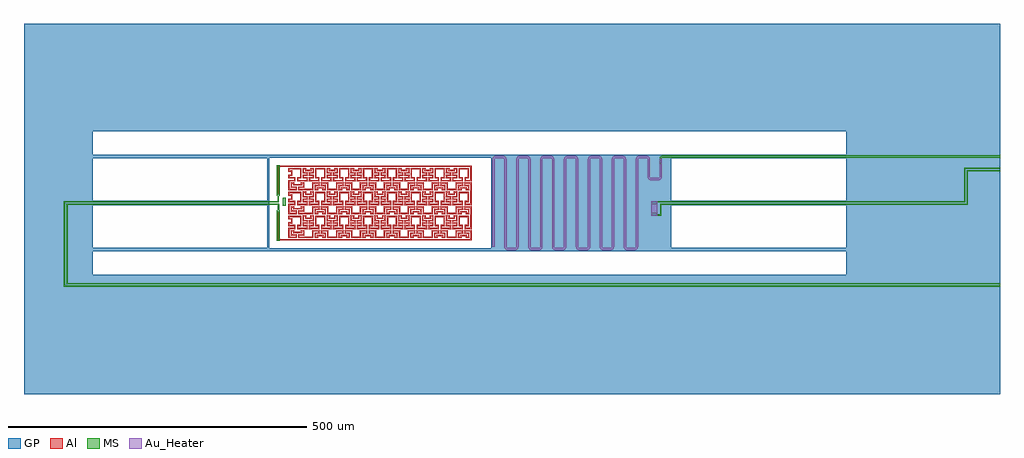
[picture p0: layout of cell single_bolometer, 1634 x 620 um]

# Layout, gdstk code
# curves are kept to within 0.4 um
import gdstk
lib = gdstk.Library(unit=1e-6, precision=1e-09)
def R(c, l, rs):  # rectangles x0, y0, x1, y1
    for r in rs: c.add(gdstk.rectangle(r[:2], r[2:], *l))
def P(c, l, *ps):  # polygons
    for p in ps: c.add(gdstk.Polygon(p, *l))
GP = (3, 0)
Al = (8, 0)
Au_Heater = (9, 0)
MS = (11, 0)

single_bolometer = lib.new_cell('single_bolometer')
R(single_bolometer, GP, [(-817,-310,560,-110), (560,-310,817,310), (-817,-110,-702,130), (-817,130,560,310)])
P(single_bolometer, GP, [(-702,-71),(-406.5,-71),(-406.5,86),(-35,86),(-35,-66),(-406.5,-66),(-406.5,-71),(560,-71),(560,-65),(267,-65),(267,6),(560,6),(560,14),(267,14),(267,85),(560,85),(560,91),(-702,91),(-702,85),(-409.5,85),(-409.5,14),(-702,14),(-702,6),(-409.5,6),(-409.5,-65),(-702,-65)])
R(single_bolometer, Al, [(-222,70.5,-146.5,72.5)])
P(single_bolometer, Al, [(-222,-52.5),(-392.5,-52.5),(-392.5,-4.5),(-389.5,-4.5),(-389.5,-50.5),(-222,-50.5)],
  [(-222,70.5),(-389.5,70.5),(-389.5,24.5),(-392.5,24.5),(-392.5,72.5),(-222,72.5)],
  [(-222,-50.5),(-69.5,-50.5),(-69.5,-37.5),(-78,-37.5),(-78,-39.5),(-71.5,-39.5),(-71.5,-48.5),(-77.5,-48.5),(-77.5,-45.5),(-84.5,-45.5),(-84.5,-48.5),(-90.5,-48.5),(-90.5,-39.5),(-84,-39.5),(-84,-37.5),(-92.5,-37.5),(-92.5,-48.5),(-109.5,-48.5),(-109.5,-37.5),(-118,-37.5),(-118,-39.5),(-111.5,-39.5),(-111.5,-48.5),(-117.5,-48.5),(-117.5,-45.5),(-124.5,-45.5),(-124.5,-48.5),(-130.5,-48.5),(-130.5,-39.5),(-124,-39.5),(-124,-37.5),(-132.5,-37.5),(-132.5,-48.5),(-149.5,-48.5),(-149.5,-37.5),(-158,-37.5),(-158,-39.5),(-151.5,-39.5),(-151.5,-48.5),(-157.5,-48.5),(-157.5,-45.5),(-164.5,-45.5),(-164.5,-48.5),(-170.5,-48.5),(-170.5,-39.5),(-164,-39.5),(-164,-37.5),(-172.5,-37.5),(-172.5,-48.5),(-189.5,-48.5),(-189.5,-37.5),(-198,-37.5),(-198,-39.5),(-191.5,-39.5),(-191.5,-48.5),(-197.5,-48.5),(-197.5,-45.5),(-204.5,-45.5),(-204.5,-48.5),(-210.5,-48.5),(-210.5,-39.5),(-204,-39.5),(-204,-37.5),(-212.5,-37.5),(-212.5,-48.5),(-222,-48.5),(-222,-46.5),(-214.5,-46.5),(-214.5,-35.5),(-202,-35.5),(-202,-41.5),(-208.5,-41.5),(-208.5,-46.5),(-206.5,-46.5),(-206.5,-43.5),(-195.5,-43.5),(-195.5,-46.5),(-193.5,-46.5),(-193.5,-41.5),(-200,-41.5),(-200,-35.5),(-187.5,-35.5),(-187.5,-46.5),(-174.5,-46.5),(-174.5,-35.5),(-162,-35.5),(-162,-41.5),(-168.5,-41.5),(-168.5,-46.5),(-166.5,-46.5),(-166.5,-43.5),(-155.5,-43.5),(-155.5,-46.5),(-153.5,-46.5),(-153.5,-41.5),(-160,-41.5),(-160,-35.5),(-147.5,-35.5),(-147.5,-46.5),(-134.5,-46.5),(-134.5,-35.5),(-122,-35.5),(-122,-41.5),(-128.5,-41.5),(-128.5,-46.5),(-126.5,-46.5),(-126.5,-43.5),(-115.5,-43.5),(-115.5,-46.5),(-113.5,-46.5),(-113.5,-41.5),(-120,-41.5),(-120,-35.5),(-107.5,-35.5),(-107.5,-46.5),(-94.5,-46.5),(-94.5,-35.5),(-82,-35.5),(-82,-41.5),(-88.5,-41.5),(-88.5,-46.5),(-86.5,-46.5),(-86.5,-43.5),(-75.5,-43.5),(-75.5,-46.5),(-73.5,-46.5),(-73.5,-41.5),(-80,-41.5),(-80,-35.5),(-67.5,-35.5),(-67.5,-52.5),(-222,-52.5)],
  [(-297.5,-48.5),(-309.5,-48.5),(-309.5,-37.5),(-318,-37.5),(-318,-39.5),(-311.5,-39.5),(-311.5,-48.5),(-317.5,-48.5),(-317.5,-45.5),(-324.5,-45.5),(-324.5,-48.5),(-330.5,-48.5),(-330.5,-39.5),(-324,-39.5),(-324,-37.5),(-332.5,-37.5),(-332.5,-48.5),(-358,-48.5),(-358,-42.5),(-349.5,-42.5),(-349.5,-37.5),(-351.5,-37.5),(-351.5,-40.5),(-366.5,-40.5),(-366.5,-37.5),(-368.5,-37.5),(-368.5,-42.5),(-360,-42.5),(-360,-48.5),(-374.5,-48.5),(-374.5,-31.5),(-364.5,-31.5),(-364.5,-28.5),(-374.5,-28.5),(-374.5,-22.5),(-369.5,-22.5),(-369.5,-17.5),(-374.5,-17.5),(-374.5,-11.5),(-352.5,-11.5),(-352.5,-28.5),(-357.5,-28.5),(-357.5,-31.5),(-344,-31.5),(-344,-28.5),(-350.5,-28.5),(-350.5,-22.5),(-344,-22.5),(-344,-20.5),(-350.5,-20.5),(-350.5,-10.5),(-344.5,-10.5),(-344.5,-14.5),(-337.5,-14.5),(-337.5,-10.5),(-331.5,-10.5),(-331.5,-20.5),(-338,-20.5),(-338,-22.5),(-331.5,-22.5),(-331.5,-28.5),(-338,-28.5),(-338,-31.5),(-324.5,-31.5),(-324.5,-28.5),(-329.5,-28.5),(-329.5,-11.5),(-312.5,-11.5),(-312.5,-28.5),(-317.5,-28.5),(-317.5,-31.5),(-304,-31.5),(-304,-28.5),(-310.5,-28.5),(-310.5,-22.5),(-304,-22.5),(-304,-20.5),(-310.5,-20.5),(-310.5,-10.5),(-304.5,-10.5),(-304.5,-14.5),(-297.5,-14.5),(-297.5,-16.5),(-306.5,-16.5),(-306.5,-12.5),(-308.5,-12.5),(-308.5,-18.5),(-302,-18.5),(-302,-24.5),(-308.5,-24.5),(-308.5,-26.5),(-302,-26.5),(-302,-33.5),(-319.5,-33.5),(-319.5,-26.5),(-314.5,-26.5),(-314.5,-13.5),(-327.5,-13.5),(-327.5,-26.5),(-322.5,-26.5),(-322.5,-33.5),(-340,-33.5),(-340,-26.5),(-333.5,-26.5),(-333.5,-24.5),(-340,-24.5),(-340,-18.5),(-333.5,-18.5),(-333.5,-12.5),(-335.5,-12.5),(-335.5,-16.5),(-346.5,-16.5),(-346.5,-12.5),(-348.5,-12.5),(-348.5,-18.5),(-342,-18.5),(-342,-24.5),(-348.5,-24.5),(-348.5,-26.5),(-342,-26.5),(-342,-33.5),(-359.5,-33.5),(-359.5,-26.5),(-354.5,-26.5),(-354.5,-13.5),(-372.5,-13.5),(-372.5,-15.5),(-367.5,-15.5),(-367.5,-24.5),(-372.5,-24.5),(-372.5,-26.5),(-362.5,-26.5),(-362.5,-33.5),(-372.5,-33.5),(-372.5,-46.5),(-362,-46.5),(-362,-44.5),(-370.5,-44.5),(-370.5,-35.5),(-364.5,-35.5),(-364.5,-38.5),(-353.5,-38.5),(-353.5,-35.5),(-347.5,-35.5),(-347.5,-44.5),(-356,-44.5),(-356,-46.5),(-334.5,-46.5),(-334.5,-35.5),(-322,-35.5),(-322,-41.5),(-328.5,-41.5),(-328.5,-46.5),(-326.5,-46.5),(-326.5,-43.5),(-315.5,-43.5),(-315.5,-46.5),(-313.5,-46.5),(-313.5,-41.5),(-320,-41.5),(-320,-35.5),(-307.5,-35.5),(-307.5,-46.5),(-297.5,-46.5)],
  [(-297.5,-33.5),(-300,-33.5),(-300,-26.5),(-297.5,-26.5),(-297.5,-28.5),(-298,-28.5),(-298,-31.5),(-297.5,-31.5)],
  [(-297.5,-24.5),(-300,-24.5),(-300,-18.5),(-297.5,-18.5),(-297.5,-20.5),(-298,-20.5),(-298,-22.5),(-297.5,-22.5)],
  [(-297.5,-46.5),(-294.5,-46.5),(-294.5,-35.5),(-282,-35.5),(-282,-41.5),(-288.5,-41.5),(-288.5,-46.5),(-286.5,-46.5),(-286.5,-43.5),(-275.5,-43.5),(-275.5,-46.5),(-273.5,-46.5),(-273.5,-41.5),(-280,-41.5),(-280,-35.5),(-267.5,-35.5),(-267.5,-46.5),(-254.5,-46.5),(-254.5,-35.5),(-242,-35.5),(-242,-41.5),(-248.5,-41.5),(-248.5,-46.5),(-246.5,-46.5),(-246.5,-43.5),(-235.5,-43.5),(-235.5,-46.5),(-233.5,-46.5),(-233.5,-41.5),(-240,-41.5),(-240,-35.5),(-227.5,-35.5),(-227.5,-46.5),(-222,-46.5),(-222,-48.5),(-229.5,-48.5),(-229.5,-37.5),(-238,-37.5),(-238,-39.5),(-231.5,-39.5),(-231.5,-48.5),(-237.5,-48.5),(-237.5,-45.5),(-244.5,-45.5),(-244.5,-48.5),(-250.5,-48.5),(-250.5,-39.5),(-244,-39.5),(-244,-37.5),(-252.5,-37.5),(-252.5,-48.5),(-269.5,-48.5),(-269.5,-37.5),(-278,-37.5),(-278,-39.5),(-271.5,-39.5),(-271.5,-48.5),(-277.5,-48.5),(-277.5,-45.5),(-284.5,-45.5),(-284.5,-48.5),(-290.5,-48.5),(-290.5,-39.5),(-284,-39.5),(-284,-37.5),(-292.5,-37.5),(-292.5,-48.5),(-297.5,-48.5)],
  [(-297.5,-31.5),(-284.5,-31.5),(-284.5,-28.5),(-289.5,-28.5),(-289.5,-11.5),(-272.5,-11.5),(-272.5,-28.5),(-277.5,-28.5),(-277.5,-31.5),(-264,-31.5),(-264,-28.5),(-270.5,-28.5),(-270.5,-22.5),(-264,-22.5),(-264,-20.5),(-270.5,-20.5),(-270.5,-10.5),(-264.5,-10.5),(-264.5,-14.5),(-257.5,-14.5),(-257.5,-10.5),(-251.5,-10.5),(-251.5,-20.5),(-258,-20.5),(-258,-22.5),(-251.5,-22.5),(-251.5,-28.5),(-258,-28.5),(-258,-31.5),(-244.5,-31.5),(-244.5,-28.5),(-249.5,-28.5),(-249.5,-11.5),(-232.5,-11.5),(-232.5,-28.5),(-237.5,-28.5),(-237.5,-31.5),(-224,-31.5),(-224,-28.5),(-230.5,-28.5),(-230.5,-22.5),(-224,-22.5),(-224,-20.5),(-230.5,-20.5),(-230.5,-10.5),(-224.5,-10.5),(-224.5,-14.5),(-222,-14.5),(-222,-16.5),(-226.5,-16.5),(-226.5,-12.5),(-228.5,-12.5),(-228.5,-18.5),(-222,-18.5),(-222,-24.5),(-228.5,-24.5),(-228.5,-26.5),(-222,-26.5),(-222,-33.5),(-239.5,-33.5),(-239.5,-26.5),(-234.5,-26.5),(-234.5,-13.5),(-247.5,-13.5),(-247.5,-26.5),(-242.5,-26.5),(-242.5,-33.5),(-260,-33.5),(-260,-26.5),(-253.5,-26.5),(-253.5,-24.5),(-260,-24.5),(-260,-18.5),(-253.5,-18.5),(-253.5,-12.5),(-255.5,-12.5),(-255.5,-16.5),(-266.5,-16.5),(-266.5,-12.5),(-268.5,-12.5),(-268.5,-18.5),(-262,-18.5),(-262,-24.5),(-268.5,-24.5),(-268.5,-26.5),(-262,-26.5),(-262,-33.5),(-279.5,-33.5),(-279.5,-26.5),(-274.5,-26.5),(-274.5,-13.5),(-287.5,-13.5),(-287.5,-26.5),(-282.5,-26.5),(-282.5,-33.5),(-297.5,-33.5)],
  [(-297.5,-26.5),(-293.5,-26.5),(-293.5,-24.5),(-297.5,-24.5),(-297.5,-22.5),(-291.5,-22.5),(-291.5,-28.5),(-297.5,-28.5)],
  [(-297.5,-18.5),(-293.5,-18.5),(-293.5,-12.5),(-295.5,-12.5),(-295.5,-16.5),(-297.5,-16.5),(-297.5,-10.5),(-291.5,-10.5),(-291.5,-20.5),(-297.5,-20.5)],
  [(-297.5,-8.5),(-309.5,-8.5),(-309.5,2.5),(-318,2.5),(-318,0.5),(-311.5,0.5),(-311.5,-8.5),(-317.5,-8.5),(-317.5,-5.5),(-324.5,-5.5),(-324.5,-8.5),(-330.5,-8.5),(-330.5,0.5),(-324,0.5),(-324,2.5),(-332.5,2.5),(-332.5,-8.5),(-358,-8.5),(-358,-2.5),(-349.5,-2.5),(-349.5,2.5),(-351.5,2.5),(-351.5,-0.5),(-366.5,-0.5),(-366.5,2.5),(-368.5,2.5),(-368.5,-2.5),(-360,-2.5),(-360,-8.5),(-374.5,-8.5),(-374.5,8.5),(-364.5,8.5),(-364.5,11.5),(-374.5,11.5),(-374.5,17.5),(-369.5,17.5),(-369.5,22.5),(-374.5,22.5),(-374.5,28.5),(-352.5,28.5),(-352.5,11.5),(-357.5,11.5),(-357.5,8.5),(-344,8.5),(-344,11.5),(-350.5,11.5),(-350.5,17.5),(-344,17.5),(-344,19.5),(-350.5,19.5),(-350.5,29.5),(-344.5,29.5),(-344.5,25.5),(-337.5,25.5),(-337.5,29.5),(-331.5,29.5),(-331.5,19.5),(-338,19.5),(-338,17.5),(-331.5,17.5),(-331.5,11.5),(-338,11.5),(-338,8.5),(-324.5,8.5),(-324.5,11.5),(-329.5,11.5),(-329.5,28.5),(-312.5,28.5),(-312.5,11.5),(-317.5,11.5),(-317.5,8.5),(-304,8.5),(-304,11.5),(-310.5,11.5),(-310.5,17.5),(-304,17.5),(-304,19.5),(-310.5,19.5),(-310.5,29.5),(-304.5,29.5),(-304.5,25.5),(-297.5,25.5),(-297.5,23.5),(-306.5,23.5),(-306.5,27.5),(-308.5,27.5),(-308.5,21.5),(-302,21.5),(-302,15.5),(-308.5,15.5),(-308.5,13.5),(-302,13.5),(-302,6.5),(-319.5,6.5),(-319.5,13.5),(-314.5,13.5),(-314.5,26.5),(-327.5,26.5),(-327.5,13.5),(-322.5,13.5),(-322.5,6.5),(-340,6.5),(-340,13.5),(-333.5,13.5),(-333.5,15.5),(-340,15.5),(-340,21.5),(-333.5,21.5),(-333.5,27.5),(-335.5,27.5),(-335.5,23.5),(-346.5,23.5),(-346.5,27.5),(-348.5,27.5),(-348.5,21.5),(-342,21.5),(-342,15.5),(-348.5,15.5),(-348.5,13.5),(-342,13.5),(-342,6.5),(-359.5,6.5),(-359.5,13.5),(-354.5,13.5),(-354.5,26.5),(-372.5,26.5),(-372.5,24.5),(-367.5,24.5),(-367.5,15.5),(-372.5,15.5),(-372.5,13.5),(-362.5,13.5),(-362.5,6.5),(-372.5,6.5),(-372.5,-6.5),(-362,-6.5),(-362,-4.5),(-370.5,-4.5),(-370.5,4.5),(-364.5,4.5),(-364.5,1.5),(-353.5,1.5),(-353.5,4.5),(-347.5,4.5),(-347.5,-4.5),(-356,-4.5),(-356,-6.5),(-334.5,-6.5),(-334.5,4.5),(-322,4.5),(-322,-1.5),(-328.5,-1.5),(-328.5,-6.5),(-326.5,-6.5),(-326.5,-3.5),(-315.5,-3.5),(-315.5,-6.5),(-313.5,-6.5),(-313.5,-1.5),(-320,-1.5),(-320,4.5),(-307.5,4.5),(-307.5,-6.5),(-297.5,-6.5)],
  [(-297.5,6.5),(-300,6.5),(-300,13.5),(-297.5,13.5),(-297.5,11.5),(-298,11.5),(-298,8.5),(-297.5,8.5)],
  [(-297.5,15.5),(-300,15.5),(-300,21.5),(-297.5,21.5),(-297.5,19.5),(-298,19.5),(-298,17.5),(-297.5,17.5)],
  [(-297.5,-6.5),(-294.5,-6.5),(-294.5,4.5),(-282,4.5),(-282,-1.5),(-288.5,-1.5),(-288.5,-6.5),(-286.5,-6.5),(-286.5,-3.5),(-275.5,-3.5),(-275.5,-6.5),(-273.5,-6.5),(-273.5,-1.5),(-280,-1.5),(-280,4.5),(-267.5,4.5),(-267.5,-6.5),(-254.5,-6.5),(-254.5,4.5),(-242,4.5),(-242,-1.5),(-248.5,-1.5),(-248.5,-6.5),(-246.5,-6.5),(-246.5,-3.5),(-235.5,-3.5),(-235.5,-6.5),(-233.5,-6.5),(-233.5,-1.5),(-240,-1.5),(-240,4.5),(-227.5,4.5),(-227.5,-6.5),(-222,-6.5),(-222,-8.5),(-229.5,-8.5),(-229.5,2.5),(-238,2.5),(-238,0.5),(-231.5,0.5),(-231.5,-8.5),(-237.5,-8.5),(-237.5,-5.5),(-244.5,-5.5),(-244.5,-8.5),(-250.5,-8.5),(-250.5,0.5),(-244,0.5),(-244,2.5),(-252.5,2.5),(-252.5,-8.5),(-269.5,-8.5),(-269.5,2.5),(-278,2.5),(-278,0.5),(-271.5,0.5),(-271.5,-8.5),(-277.5,-8.5),(-277.5,-5.5),(-284.5,-5.5),(-284.5,-8.5),(-290.5,-8.5),(-290.5,0.5),(-284,0.5),(-284,2.5),(-292.5,2.5),(-292.5,-8.5),(-297.5,-8.5)],
  [(-297.5,8.5),(-284.5,8.5),(-284.5,11.5),(-289.5,11.5),(-289.5,28.5),(-272.5,28.5),(-272.5,11.5),(-277.5,11.5),(-277.5,8.5),(-264,8.5),(-264,11.5),(-270.5,11.5),(-270.5,17.5),(-264,17.5),(-264,19.5),(-270.5,19.5),(-270.5,29.5),(-264.5,29.5),(-264.5,25.5),(-257.5,25.5),(-257.5,29.5),(-251.5,29.5),(-251.5,19.5),(-258,19.5),(-258,17.5),(-251.5,17.5),(-251.5,11.5),(-258,11.5),(-258,8.5),(-244.5,8.5),(-244.5,11.5),(-249.5,11.5),(-249.5,28.5),(-232.5,28.5),(-232.5,11.5),(-237.5,11.5),(-237.5,8.5),(-224,8.5),(-224,11.5),(-230.5,11.5),(-230.5,17.5),(-224,17.5),(-224,19.5),(-230.5,19.5),(-230.5,29.5),(-224.5,29.5),(-224.5,25.5),(-222,25.5),(-222,23.5),(-226.5,23.5),(-226.5,27.5),(-228.5,27.5),(-228.5,21.5),(-222,21.5),(-222,15.5),(-228.5,15.5),(-228.5,13.5),(-222,13.5),(-222,6.5),(-239.5,6.5),(-239.5,13.5),(-234.5,13.5),(-234.5,26.5),(-247.5,26.5),(-247.5,13.5),(-242.5,13.5),(-242.5,6.5),(-260,6.5),(-260,13.5),(-253.5,13.5),(-253.5,15.5),(-260,15.5),(-260,21.5),(-253.5,21.5),(-253.5,27.5),(-255.5,27.5),(-255.5,23.5),(-266.5,23.5),(-266.5,27.5),(-268.5,27.5),(-268.5,21.5),(-262,21.5),(-262,15.5),(-268.5,15.5),(-268.5,13.5),(-262,13.5),(-262,6.5),(-279.5,6.5),(-279.5,13.5),(-274.5,13.5),(-274.5,26.5),(-287.5,26.5),(-287.5,13.5),(-282.5,13.5),(-282.5,6.5),(-297.5,6.5)],
  [(-297.5,13.5),(-293.5,13.5),(-293.5,15.5),(-297.5,15.5),(-297.5,17.5),(-291.5,17.5),(-291.5,11.5),(-297.5,11.5)],
  [(-297.5,21.5),(-293.5,21.5),(-293.5,27.5),(-295.5,27.5),(-295.5,23.5),(-297.5,23.5),(-297.5,29.5),(-291.5,29.5),(-291.5,19.5),(-297.5,19.5)],
  [(-297.5,31.5),(-309.5,31.5),(-309.5,42.5),(-318,42.5),(-318,40.5),(-311.5,40.5),(-311.5,31.5),(-317.5,31.5),(-317.5,34.5),(-324.5,34.5),(-324.5,31.5),(-330.5,31.5),(-330.5,40.5),(-324,40.5),(-324,42.5),(-332.5,42.5),(-332.5,31.5),(-358,31.5),(-358,37.5),(-349.5,37.5),(-349.5,42.5),(-351.5,42.5),(-351.5,39.5),(-366.5,39.5),(-366.5,42.5),(-368.5,42.5),(-368.5,37.5),(-360,37.5),(-360,31.5),(-374.5,31.5),(-374.5,48.5),(-364.5,48.5),(-364.5,51.5),(-374.5,51.5),(-374.5,57.5),(-369.5,57.5),(-369.5,62.5),(-374.5,62.5),(-374.5,68.5),(-352.5,68.5),(-352.5,51.5),(-357.5,51.5),(-357.5,48.5),(-344,48.5),(-344,51.5),(-350.5,51.5),(-350.5,57.5),(-344,57.5),(-344,59.5),(-350.5,59.5),(-350.5,68.5),(-344.5,68.5),(-344.5,65.5),(-337.5,65.5),(-337.5,68.5),(-331.5,68.5),(-331.5,59.5),(-338,59.5),(-338,57.5),(-331.5,57.5),(-331.5,51.5),(-338,51.5),(-338,48.5),(-324.5,48.5),(-324.5,51.5),(-329.5,51.5),(-329.5,68.5),(-312.5,68.5),(-312.5,51.5),(-317.5,51.5),(-317.5,48.5),(-304,48.5),(-304,51.5),(-310.5,51.5),(-310.5,57.5),(-304,57.5),(-304,59.5),(-310.5,59.5),(-310.5,68.5),(-304.5,68.5),(-304.5,65.5),(-297.5,65.5),(-297.5,63.5),(-306.5,63.5),(-306.5,66.5),(-308.5,66.5),(-308.5,61.5),(-302,61.5),(-302,55.5),(-308.5,55.5),(-308.5,53.5),(-302,53.5),(-302,46.5),(-319.5,46.5),(-319.5,53.5),(-314.5,53.5),(-314.5,66.5),(-327.5,66.5),(-327.5,53.5),(-322.5,53.5),(-322.5,46.5),(-340,46.5),(-340,53.5),(-333.5,53.5),(-333.5,55.5),(-340,55.5),(-340,61.5),(-333.5,61.5),(-333.5,66.5),(-335.5,66.5),(-335.5,63.5),(-346.5,63.5),(-346.5,66.5),(-348.5,66.5),(-348.5,61.5),(-342,61.5),(-342,55.5),(-348.5,55.5),(-348.5,53.5),(-342,53.5),(-342,46.5),(-359.5,46.5),(-359.5,53.5),(-354.5,53.5),(-354.5,66.5),(-372.5,66.5),(-372.5,64.5),(-367.5,64.5),(-367.5,55.5),(-372.5,55.5),(-372.5,53.5),(-362.5,53.5),(-362.5,46.5),(-372.5,46.5),(-372.5,33.5),(-362,33.5),(-362,35.5),(-370.5,35.5),(-370.5,44.5),(-364.5,44.5),(-364.5,41.5),(-353.5,41.5),(-353.5,44.5),(-347.5,44.5),(-347.5,35.5),(-356,35.5),(-356,33.5),(-334.5,33.5),(-334.5,44.5),(-322,44.5),(-322,38.5),(-328.5,38.5),(-328.5,33.5),(-326.5,33.5),(-326.5,36.5),(-315.5,36.5),(-315.5,33.5),(-313.5,33.5),(-313.5,38.5),(-320,38.5),(-320,44.5),(-307.5,44.5),(-307.5,33.5),(-297.5,33.5)],
  [(-297.5,46.5),(-300,46.5),(-300,53.5),(-297.5,53.5),(-297.5,51.5),(-298,51.5),(-298,48.5),(-297.5,48.5)],
  [(-297.5,55.5),(-300,55.5),(-300,61.5),(-297.5,61.5),(-297.5,59.5),(-298,59.5),(-298,57.5),(-297.5,57.5)],
  [(-297.5,33.5),(-294.5,33.5),(-294.5,44.5),(-282,44.5),(-282,38.5),(-288.5,38.5),(-288.5,33.5),(-286.5,33.5),(-286.5,36.5),(-275.5,36.5),(-275.5,33.5),(-273.5,33.5),(-273.5,38.5),(-280,38.5),(-280,44.5),(-267.5,44.5),(-267.5,33.5),(-254.5,33.5),(-254.5,44.5),(-242,44.5),(-242,38.5),(-248.5,38.5),(-248.5,33.5),(-246.5,33.5),(-246.5,36.5),(-235.5,36.5),(-235.5,33.5),(-233.5,33.5),(-233.5,38.5),(-240,38.5),(-240,44.5),(-227.5,44.5),(-227.5,33.5),(-222,33.5),(-222,31.5),(-229.5,31.5),(-229.5,42.5),(-238,42.5),(-238,40.5),(-231.5,40.5),(-231.5,31.5),(-237.5,31.5),(-237.5,34.5),(-244.5,34.5),(-244.5,31.5),(-250.5,31.5),(-250.5,40.5),(-244,40.5),(-244,42.5),(-252.5,42.5),(-252.5,31.5),(-269.5,31.5),(-269.5,42.5),(-278,42.5),(-278,40.5),(-271.5,40.5),(-271.5,31.5),(-277.5,31.5),(-277.5,34.5),(-284.5,34.5),(-284.5,31.5),(-290.5,31.5),(-290.5,40.5),(-284,40.5),(-284,42.5),(-292.5,42.5),(-292.5,31.5),(-297.5,31.5)],
  [(-297.5,48.5),(-284.5,48.5),(-284.5,51.5),(-289.5,51.5),(-289.5,68.5),(-272.5,68.5),(-272.5,51.5),(-277.5,51.5),(-277.5,48.5),(-264,48.5),(-264,51.5),(-270.5,51.5),(-270.5,57.5),(-264,57.5),(-264,59.5),(-270.5,59.5),(-270.5,68.5),(-264.5,68.5),(-264.5,65.5),(-257.5,65.5),(-257.5,68.5),(-251.5,68.5),(-251.5,59.5),(-258,59.5),(-258,57.5),(-251.5,57.5),(-251.5,51.5),(-258,51.5),(-258,48.5),(-244.5,48.5),(-244.5,51.5),(-249.5,51.5),(-249.5,68.5),(-232.5,68.5),(-232.5,51.5),(-237.5,51.5),(-237.5,48.5),(-224,48.5),(-224,51.5),(-230.5,51.5),(-230.5,57.5),(-224,57.5),(-224,59.5),(-230.5,59.5),(-230.5,68.5),(-224.5,68.5),(-224.5,65.5),(-222,65.5),(-222,63.5),(-226.5,63.5),(-226.5,66.5),(-228.5,66.5),(-228.5,61.5),(-222,61.5),(-222,55.5),(-228.5,55.5),(-228.5,53.5),(-222,53.5),(-222,46.5),(-239.5,46.5),(-239.5,53.5),(-234.5,53.5),(-234.5,66.5),(-247.5,66.5),(-247.5,53.5),(-242.5,53.5),(-242.5,46.5),(-260,46.5),(-260,53.5),(-253.5,53.5),(-253.5,55.5),(-260,55.5),(-260,61.5),(-253.5,61.5),(-253.5,66.5),(-255.5,66.5),(-255.5,63.5),(-266.5,63.5),(-266.5,66.5),(-268.5,66.5),(-268.5,61.5),(-262,61.5),(-262,55.5),(-268.5,55.5),(-268.5,53.5),(-262,53.5),(-262,46.5),(-279.5,46.5),(-279.5,53.5),(-274.5,53.5),(-274.5,66.5),(-287.5,66.5),(-287.5,53.5),(-282.5,53.5),(-282.5,46.5),(-297.5,46.5)],
  [(-297.5,53.5),(-293.5,53.5),(-293.5,55.5),(-297.5,55.5),(-297.5,57.5),(-291.5,57.5),(-291.5,51.5),(-297.5,51.5)],
  [(-297.5,61.5),(-293.5,61.5),(-293.5,66.5),(-295.5,66.5),(-295.5,63.5),(-297.5,63.5),(-297.5,68.5),(-291.5,68.5),(-291.5,59.5),(-297.5,59.5)],
  [(-147.5,-33.5),(-159.5,-33.5),(-159.5,-26.5),(-154.5,-26.5),(-154.5,-13.5),(-167.5,-13.5),(-167.5,-26.5),(-162.5,-26.5),(-162.5,-33.5),(-180,-33.5),(-180,-26.5),(-173.5,-26.5),(-173.5,-24.5),(-180,-24.5),(-180,-18.5),(-173.5,-18.5),(-173.5,-12.5),(-175.5,-12.5),(-175.5,-16.5),(-186.5,-16.5),(-186.5,-12.5),(-188.5,-12.5),(-188.5,-18.5),(-182,-18.5),(-182,-24.5),(-188.5,-24.5),(-188.5,-26.5),(-182,-26.5),(-182,-33.5),(-199.5,-33.5),(-199.5,-26.5),(-194.5,-26.5),(-194.5,-13.5),(-207.5,-13.5),(-207.5,-26.5),(-202.5,-26.5),(-202.5,-33.5),(-220,-33.5),(-220,-26.5),(-213.5,-26.5),(-213.5,-24.5),(-220,-24.5),(-220,-18.5),(-213.5,-18.5),(-213.5,-12.5),(-215.5,-12.5),(-215.5,-16.5),(-222,-16.5),(-222,-14.5),(-217.5,-14.5),(-217.5,-10.5),(-211.5,-10.5),(-211.5,-20.5),(-218,-20.5),(-218,-22.5),(-211.5,-22.5),(-211.5,-28.5),(-218,-28.5),(-218,-31.5),(-204.5,-31.5),(-204.5,-28.5),(-209.5,-28.5),(-209.5,-11.5),(-192.5,-11.5),(-192.5,-28.5),(-197.5,-28.5),(-197.5,-31.5),(-184,-31.5),(-184,-28.5),(-190.5,-28.5),(-190.5,-22.5),(-184,-22.5),(-184,-20.5),(-190.5,-20.5),(-190.5,-10.5),(-184.5,-10.5),(-184.5,-14.5),(-177.5,-14.5),(-177.5,-10.5),(-171.5,-10.5),(-171.5,-20.5),(-178,-20.5),(-178,-22.5),(-171.5,-22.5),(-171.5,-28.5),(-178,-28.5),(-178,-31.5),(-164.5,-31.5),(-164.5,-28.5),(-169.5,-28.5),(-169.5,-11.5),(-152.5,-11.5),(-152.5,-28.5),(-157.5,-28.5),(-157.5,-31.5),(-147.5,-31.5)],
  [(-147.5,-28.5),(-150.5,-28.5),(-150.5,-22.5),(-147.5,-22.5),(-147.5,-24.5),(-148.5,-24.5),(-148.5,-26.5),(-147.5,-26.5)],
  [(-147.5,-20.5),(-150.5,-20.5),(-150.5,-10.5),(-147.5,-10.5),(-147.5,-12.5),(-148.5,-12.5),(-148.5,-18.5),(-147.5,-18.5)],
  [(-147.5,-8.5),(-149.5,-8.5),(-149.5,2.5),(-158,2.5),(-158,0.5),(-151.5,0.5),(-151.5,-8.5),(-157.5,-8.5),(-157.5,-5.5),(-164.5,-5.5),(-164.5,-8.5),(-170.5,-8.5),(-170.5,0.5),(-164,0.5),(-164,2.5),(-172.5,2.5),(-172.5,-8.5),(-189.5,-8.5),(-189.5,2.5),(-198,2.5),(-198,0.5),(-191.5,0.5),(-191.5,-8.5),(-197.5,-8.5),(-197.5,-5.5),(-204.5,-5.5),(-204.5,-8.5),(-210.5,-8.5),(-210.5,0.5),(-204,0.5),(-204,2.5),(-212.5,2.5),(-212.5,-8.5),(-222,-8.5),(-222,-6.5),(-214.5,-6.5),(-214.5,4.5),(-202,4.5),(-202,-1.5),(-208.5,-1.5),(-208.5,-6.5),(-206.5,-6.5),(-206.5,-3.5),(-195.5,-3.5),(-195.5,-6.5),(-193.5,-6.5),(-193.5,-1.5),(-200,-1.5),(-200,4.5),(-187.5,4.5),(-187.5,-6.5),(-174.5,-6.5),(-174.5,4.5),(-162,4.5),(-162,-1.5),(-168.5,-1.5),(-168.5,-6.5),(-166.5,-6.5),(-166.5,-3.5),(-155.5,-3.5),(-155.5,-6.5),(-153.5,-6.5),(-153.5,-1.5),(-160,-1.5),(-160,4.5),(-147.5,4.5)],
  [(-147.5,-31.5),(-144,-31.5),(-144,-28.5),(-147.5,-28.5),(-147.5,-26.5),(-142,-26.5),(-142,-33.5),(-147.5,-33.5)],
  [(-147.5,-22.5),(-144,-22.5),(-144,-20.5),(-147.5,-20.5),(-147.5,-18.5),(-142,-18.5),(-142,-24.5),(-147.5,-24.5)],
  [(-147.5,-10.5),(-144.5,-10.5),(-144.5,-14.5),(-137.5,-14.5),(-137.5,-10.5),(-131.5,-10.5),(-131.5,-20.5),(-138,-20.5),(-138,-22.5),(-131.5,-22.5),(-131.5,-28.5),(-138,-28.5),(-138,-31.5),(-124.5,-31.5),(-124.5,-28.5),(-129.5,-28.5),(-129.5,-11.5),(-112.5,-11.5),(-112.5,-28.5),(-117.5,-28.5),(-117.5,-31.5),(-104,-31.5),(-104,-28.5),(-110.5,-28.5),(-110.5,-22.5),(-104,-22.5),(-104,-20.5),(-110.5,-20.5),(-110.5,-10.5),(-104.5,-10.5),(-104.5,-14.5),(-97.5,-14.5),(-97.5,-10.5),(-91.5,-10.5),(-91.5,-20.5),(-98,-20.5),(-98,-22.5),(-91.5,-22.5),(-91.5,-28.5),(-98,-28.5),(-98,-31.5),(-84.5,-31.5),(-84.5,-28.5),(-89.5,-28.5),(-89.5,-11.5),(-72.5,-11.5),(-72.5,-28.5),(-77.5,-28.5),(-77.5,-31.5),(-69.5,-31.5),(-69.5,2.5),(-78,2.5),(-78,0.5),(-71.5,0.5),(-71.5,-8.5),(-77.5,-8.5),(-77.5,-5.5),(-84.5,-5.5),(-84.5,-8.5),(-90.5,-8.5),(-90.5,0.5),(-84,0.5),(-84,2.5),(-92.5,2.5),(-92.5,-8.5),(-109.5,-8.5),(-109.5,2.5),(-118,2.5),(-118,0.5),(-111.5,0.5),(-111.5,-8.5),(-117.5,-8.5),(-117.5,-5.5),(-124.5,-5.5),(-124.5,-8.5),(-130.5,-8.5),(-130.5,0.5),(-124,0.5),(-124,2.5),(-132.5,2.5),(-132.5,-8.5),(-147.5,-8.5),(-147.5,-6.5),(-134.5,-6.5),(-134.5,4.5),(-122,4.5),(-122,-1.5),(-128.5,-1.5),(-128.5,-6.5),(-126.5,-6.5),(-126.5,-3.5),(-115.5,-3.5),(-115.5,-6.5),(-113.5,-6.5),(-113.5,-1.5),(-120,-1.5),(-120,4.5),(-107.5,4.5),(-107.5,-6.5),(-94.5,-6.5),(-94.5,4.5),(-82,4.5),(-82,-1.5),(-88.5,-1.5),(-88.5,-6.5),(-86.5,-6.5),(-86.5,-3.5),(-75.5,-3.5),(-75.5,-6.5),(-73.5,-6.5),(-73.5,-1.5),(-80,-1.5),(-80,4.5),(-67.5,4.5),(-67.5,-33.5),(-79.5,-33.5),(-79.5,-26.5),(-74.5,-26.5),(-74.5,-13.5),(-87.5,-13.5),(-87.5,-26.5),(-82.5,-26.5),(-82.5,-33.5),(-100,-33.5),(-100,-26.5),(-93.5,-26.5),(-93.5,-24.5),(-100,-24.5),(-100,-18.5),(-93.5,-18.5),(-93.5,-12.5),(-95.5,-12.5),(-95.5,-16.5),(-106.5,-16.5),(-106.5,-12.5),(-108.5,-12.5),(-108.5,-18.5),(-102,-18.5),(-102,-24.5),(-108.5,-24.5),(-108.5,-26.5),(-102,-26.5),(-102,-33.5),(-119.5,-33.5),(-119.5,-26.5),(-114.5,-26.5),(-114.5,-13.5),(-127.5,-13.5),(-127.5,-26.5),(-122.5,-26.5),(-122.5,-33.5),(-140,-33.5),(-140,-26.5),(-133.5,-26.5),(-133.5,-24.5),(-140,-24.5),(-140,-18.5),(-133.5,-18.5),(-133.5,-12.5),(-135.5,-12.5),(-135.5,-16.5),(-146.5,-16.5),(-146.5,-12.5),(-147.5,-12.5)],
  [(-147.5,6.5),(-159.5,6.5),(-159.5,13.5),(-154.5,13.5),(-154.5,26.5),(-167.5,26.5),(-167.5,13.5),(-162.5,13.5),(-162.5,6.5),(-180,6.5),(-180,13.5),(-173.5,13.5),(-173.5,15.5),(-180,15.5),(-180,21.5),(-173.5,21.5),(-173.5,27.5),(-175.5,27.5),(-175.5,23.5),(-186.5,23.5),(-186.5,27.5),(-188.5,27.5),(-188.5,21.5),(-182,21.5),(-182,15.5),(-188.5,15.5),(-188.5,13.5),(-182,13.5),(-182,6.5),(-199.5,6.5),(-199.5,13.5),(-194.5,13.5),(-194.5,26.5),(-207.5,26.5),(-207.5,13.5),(-202.5,13.5),(-202.5,6.5),(-220,6.5),(-220,13.5),(-213.5,13.5),(-213.5,15.5),(-220,15.5),(-220,21.5),(-213.5,21.5),(-213.5,27.5),(-215.5,27.5),(-215.5,23.5),(-222,23.5),(-222,25.5),(-217.5,25.5),(-217.5,29.5),(-211.5,29.5),(-211.5,19.5),(-218,19.5),(-218,17.5),(-211.5,17.5),(-211.5,11.5),(-218,11.5),(-218,8.5),(-204.5,8.5),(-204.5,11.5),(-209.5,11.5),(-209.5,28.5),(-192.5,28.5),(-192.5,11.5),(-197.5,11.5),(-197.5,8.5),(-184,8.5),(-184,11.5),(-190.5,11.5),(-190.5,17.5),(-184,17.5),(-184,19.5),(-190.5,19.5),(-190.5,29.5),(-184.5,29.5),(-184.5,25.5),(-177.5,25.5),(-177.5,29.5),(-171.5,29.5),(-171.5,19.5),(-178,19.5),(-178,17.5),(-171.5,17.5),(-171.5,11.5),(-178,11.5),(-178,8.5),(-164.5,8.5),(-164.5,11.5),(-169.5,11.5),(-169.5,28.5),(-152.5,28.5),(-152.5,11.5),(-157.5,11.5),(-157.5,8.5),(-147.5,8.5)],
  [(-147.5,11.5),(-150.5,11.5),(-150.5,17.5),(-147.5,17.5),(-147.5,15.5),(-148.5,15.5),(-148.5,13.5),(-147.5,13.5)],
  [(-147.5,19.5),(-150.5,19.5),(-150.5,29.5),(-147.5,29.5),(-147.5,27.5),(-148.5,27.5),(-148.5,21.5),(-147.5,21.5)],
  [(-147.5,31.5),(-149.5,31.5),(-149.5,42.5),(-158,42.5),(-158,40.5),(-151.5,40.5),(-151.5,31.5),(-157.5,31.5),(-157.5,34.5),(-164.5,34.5),(-164.5,31.5),(-170.5,31.5),(-170.5,40.5),(-164,40.5),(-164,42.5),(-172.5,42.5),(-172.5,31.5),(-189.5,31.5),(-189.5,42.5),(-198,42.5),(-198,40.5),(-191.5,40.5),(-191.5,31.5),(-197.5,31.5),(-197.5,34.5),(-204.5,34.5),(-204.5,31.5),(-210.5,31.5),(-210.5,40.5),(-204,40.5),(-204,42.5),(-212.5,42.5),(-212.5,31.5),(-222,31.5),(-222,33.5),(-214.5,33.5),(-214.5,44.5),(-202,44.5),(-202,38.5),(-208.5,38.5),(-208.5,33.5),(-206.5,33.5),(-206.5,36.5),(-195.5,36.5),(-195.5,33.5),(-193.5,33.5),(-193.5,38.5),(-200,38.5),(-200,44.5),(-187.5,44.5),(-187.5,33.5),(-174.5,33.5),(-174.5,44.5),(-162,44.5),(-162,38.5),(-168.5,38.5),(-168.5,33.5),(-166.5,33.5),(-166.5,36.5),(-155.5,36.5),(-155.5,33.5),(-153.5,33.5),(-153.5,38.5),(-160,38.5),(-160,44.5),(-147.5,44.5)],
  [(-147.5,8.5),(-144,8.5),(-144,11.5),(-147.5,11.5),(-147.5,13.5),(-142,13.5),(-142,6.5),(-147.5,6.5)],
  [(-147.5,17.5),(-144,17.5),(-144,19.5),(-147.5,19.5),(-147.5,21.5),(-142,21.5),(-142,15.5),(-147.5,15.5)],
  [(-147.5,29.5),(-144.5,29.5),(-144.5,25.5),(-137.5,25.5),(-137.5,29.5),(-131.5,29.5),(-131.5,19.5),(-138,19.5),(-138,17.5),(-131.5,17.5),(-131.5,11.5),(-138,11.5),(-138,8.5),(-124.5,8.5),(-124.5,11.5),(-129.5,11.5),(-129.5,28.5),(-112.5,28.5),(-112.5,11.5),(-117.5,11.5),(-117.5,8.5),(-104,8.5),(-104,11.5),(-110.5,11.5),(-110.5,17.5),(-104,17.5),(-104,19.5),(-110.5,19.5),(-110.5,29.5),(-104.5,29.5),(-104.5,25.5),(-97.5,25.5),(-97.5,29.5),(-91.5,29.5),(-91.5,19.5),(-98,19.5),(-98,17.5),(-91.5,17.5),(-91.5,11.5),(-98,11.5),(-98,8.5),(-84.5,8.5),(-84.5,11.5),(-89.5,11.5),(-89.5,28.5),(-72.5,28.5),(-72.5,11.5),(-77.5,11.5),(-77.5,8.5),(-69.5,8.5),(-69.5,42.5),(-78,42.5),(-78,40.5),(-71.5,40.5),(-71.5,31.5),(-77.5,31.5),(-77.5,34.5),(-84.5,34.5),(-84.5,31.5),(-90.5,31.5),(-90.5,40.5),(-84,40.5),(-84,42.5),(-92.5,42.5),(-92.5,31.5),(-109.5,31.5),(-109.5,42.5),(-118,42.5),(-118,40.5),(-111.5,40.5),(-111.5,31.5),(-117.5,31.5),(-117.5,34.5),(-124.5,34.5),(-124.5,31.5),(-130.5,31.5),(-130.5,40.5),(-124,40.5),(-124,42.5),(-132.5,42.5),(-132.5,31.5),(-147.5,31.5),(-147.5,33.5),(-134.5,33.5),(-134.5,44.5),(-122,44.5),(-122,38.5),(-128.5,38.5),(-128.5,33.5),(-126.5,33.5),(-126.5,36.5),(-115.5,36.5),(-115.5,33.5),(-113.5,33.5),(-113.5,38.5),(-120,38.5),(-120,44.5),(-107.5,44.5),(-107.5,33.5),(-94.5,33.5),(-94.5,44.5),(-82,44.5),(-82,38.5),(-88.5,38.5),(-88.5,33.5),(-86.5,33.5),(-86.5,36.5),(-75.5,36.5),(-75.5,33.5),(-73.5,33.5),(-73.5,38.5),(-80,38.5),(-80,44.5),(-67.5,44.5),(-67.5,6.5),(-79.5,6.5),(-79.5,13.5),(-74.5,13.5),(-74.5,26.5),(-87.5,26.5),(-87.5,13.5),(-82.5,13.5),(-82.5,6.5),(-100,6.5),(-100,13.5),(-93.5,13.5),(-93.5,15.5),(-100,15.5),(-100,21.5),(-93.5,21.5),(-93.5,27.5),(-95.5,27.5),(-95.5,23.5),(-106.5,23.5),(-106.5,27.5),(-108.5,27.5),(-108.5,21.5),(-102,21.5),(-102,15.5),(-108.5,15.5),(-108.5,13.5),(-102,13.5),(-102,6.5),(-119.5,6.5),(-119.5,13.5),(-114.5,13.5),(-114.5,26.5),(-127.5,26.5),(-127.5,13.5),(-122.5,13.5),(-122.5,6.5),(-140,6.5),(-140,13.5),(-133.5,13.5),(-133.5,15.5),(-140,15.5),(-140,21.5),(-133.5,21.5),(-133.5,27.5),(-135.5,27.5),(-135.5,23.5),(-146.5,23.5),(-146.5,27.5),(-147.5,27.5)],
  [(-146.5,46.5),(-159.5,46.5),(-159.5,53.5),(-154.5,53.5),(-154.5,66.5),(-167.5,66.5),(-167.5,53.5),(-162.5,53.5),(-162.5,46.5),(-180,46.5),(-180,53.5),(-173.5,53.5),(-173.5,55.5),(-180,55.5),(-180,61.5),(-173.5,61.5),(-173.5,66.5),(-175.5,66.5),(-175.5,63.5),(-186.5,63.5),(-186.5,66.5),(-188.5,66.5),(-188.5,61.5),(-182,61.5),(-182,55.5),(-188.5,55.5),(-188.5,53.5),(-182,53.5),(-182,46.5),(-199.5,46.5),(-199.5,53.5),(-194.5,53.5),(-194.5,66.5),(-207.5,66.5),(-207.5,53.5),(-202.5,53.5),(-202.5,46.5),(-220,46.5),(-220,53.5),(-213.5,53.5),(-213.5,55.5),(-220,55.5),(-220,61.5),(-213.5,61.5),(-213.5,66.5),(-215.5,66.5),(-215.5,63.5),(-222,63.5),(-222,65.5),(-217.5,65.5),(-217.5,68.5),(-211.5,68.5),(-211.5,59.5),(-218,59.5),(-218,57.5),(-211.5,57.5),(-211.5,51.5),(-218,51.5),(-218,48.5),(-204.5,48.5),(-204.5,51.5),(-209.5,51.5),(-209.5,68.5),(-192.5,68.5),(-192.5,51.5),(-197.5,51.5),(-197.5,48.5),(-184,48.5),(-184,51.5),(-190.5,51.5),(-190.5,57.5),(-184,57.5),(-184,59.5),(-190.5,59.5),(-190.5,68.5),(-184.5,68.5),(-184.5,65.5),(-177.5,65.5),(-177.5,68.5),(-171.5,68.5),(-171.5,59.5),(-178,59.5),(-178,57.5),(-171.5,57.5),(-171.5,51.5),(-178,51.5),(-178,48.5),(-164.5,48.5),(-164.5,51.5),(-169.5,51.5),(-169.5,68.5),(-152.5,68.5),(-152.5,51.5),(-157.5,51.5),(-157.5,48.5),(-146.5,48.5)],
  [(-146.5,51.5),(-150.5,51.5),(-150.5,57.5),(-146.5,57.5),(-146.5,55.5),(-148.5,55.5),(-148.5,53.5),(-146.5,53.5)],
  [(-146.5,59.5),(-150.5,59.5),(-150.5,68.5),(-146.5,68.5),(-146.5,66.5),(-148.5,66.5),(-148.5,61.5),(-146.5,61.5)],
  [(-146.5,48.5),(-144,48.5),(-144,51.5),(-146.5,51.5),(-146.5,53.5),(-142,53.5),(-142,46.5),(-146.5,46.5)],
  [(-146.5,57.5),(-144,57.5),(-144,59.5),(-146.5,59.5),(-146.5,61.5),(-142,61.5),(-142,55.5),(-146.5,55.5)],
  [(-146.5,68.5),(-144.5,68.5),(-144.5,65.5),(-137.5,65.5),(-137.5,68.5),(-131.5,68.5),(-131.5,59.5),(-138,59.5),(-138,57.5),(-131.5,57.5),(-131.5,51.5),(-138,51.5),(-138,48.5),(-124.5,48.5),(-124.5,51.5),(-129.5,51.5),(-129.5,68.5),(-112.5,68.5),(-112.5,51.5),(-117.5,51.5),(-117.5,48.5),(-104,48.5),(-104,51.5),(-110.5,51.5),(-110.5,57.5),(-104,57.5),(-104,59.5),(-110.5,59.5),(-110.5,68.5),(-104.5,68.5),(-104.5,65.5),(-97.5,65.5),(-97.5,68.5),(-91.5,68.5),(-91.5,59.5),(-98,59.5),(-98,57.5),(-91.5,57.5),(-91.5,51.5),(-98,51.5),(-98,48.5),(-84.5,48.5),(-84.5,51.5),(-89.5,51.5),(-89.5,68.5),(-72.5,68.5),(-72.5,51.5),(-77.5,51.5),(-77.5,48.5),(-69.5,48.5),(-69.5,70.5),(-146.5,70.5),(-146.5,72.5),(-67.5,72.5),(-67.5,46.5),(-79.5,46.5),(-79.5,53.5),(-74.5,53.5),(-74.5,66.5),(-87.5,66.5),(-87.5,53.5),(-82.5,53.5),(-82.5,46.5),(-100,46.5),(-100,53.5),(-93.5,53.5),(-93.5,55.5),(-100,55.5),(-100,61.5),(-93.5,61.5),(-93.5,66.5),(-95.5,66.5),(-95.5,63.5),(-106.5,63.5),(-106.5,66.5),(-108.5,66.5),(-108.5,61.5),(-102,61.5),(-102,55.5),(-108.5,55.5),(-108.5,53.5),(-102,53.5),(-102,46.5),(-119.5,46.5),(-119.5,53.5),(-114.5,53.5),(-114.5,66.5),(-127.5,66.5),(-127.5,53.5),(-122.5,53.5),(-122.5,46.5),(-140,46.5),(-140,53.5),(-133.5,53.5),(-133.5,55.5),(-140,55.5),(-140,61.5),(-133.5,61.5),(-133.5,66.5),(-135.5,66.5),(-135.5,63.5),(-146.5,63.5)])
R(single_bolometer, Au_Heater, [(233,-11,243,13)])
P(single_bolometer, Au_Heater, [(108.75,-67.25),(107.75,-66),(107,-63),(107,83.75),(105,85),(92.25,85),(91,83),(91,-63),(90.25,-66),(89.25,-67.25),(88,-68.25),(85,-69),(71.5,-68.75),(70,-68.25),(67.75,-66),(67,-63),(67,83.75),(65,85),(52.25,85),(51,83),(51,-63),(50.25,-66),(48,-68.25),(46.5,-68.75),(33,-69),(30,-68.25),(27.75,-66),(27.25,-64.5),(27,83.75),(25,85),(12.25,85),(11,83),(10.75,-64.5),(10.25,-66),(8,-68.25),(5,-69),(-8.5,-68.75),(-10,-68.25),(-12.25,-66),(-13,-63),(-13,83.75),(-15,85),(-27.75,85),(-28.5,84.5),(-29,83),(-29,-63),(-33,-63),(-33,83),(-32.25,86),(-31.25,87.25),(-30,88.25),(-27,89),(-13.5,88.75),(-12,88.25),(-9.75,86),(-9,83),(-9,-63.75),(-7,-65),(5.75,-65),(7,-63),(7,83),(7.75,86),(10,88.25),(11.5,88.75),(25,89),(28,88.25),(30.25,86),(30.75,84.5),(31,-63.75),(33,-65),(45.75,-65),(47,-63),(47.25,84.5),(47.75,86),(50,88.25),(53,89),(66.5,88.75),(68,88.25),(70.25,86),(71,83),(71,-63.75),(73,-65),(85.75,-65),(87,-63),(87,83),(87.75,86),(90,88.25),(91.5,88.75),(105,89),(108.75,87.65)],
  [(108.75,87.65),(110.25,86),(111,83),(111,-63.75),(113,-65),(125.75,-65),(127,-63),(127,83),(127.75,86),(128.75,87.25),(130,88.25),(133,89),(146.5,88.75),(148,88.25),(150.25,86),(151,83),(151,-63.75),(153,-65),(165.75,-65),(167,-63),(167,83),(167.75,86),(170,88.25),(171.5,88.75),(185,89),(188,88.25),(190.25,86),(190.75,84.5),(191,-63.75),(193,-65),(205.75,-65),(207,-63),(207,83),(207.75,86),(210,88.25),(213,89),(226.5,88.75),(228,88.25),(230.25,86),(231,83),(231,53.25),(233,52),(245.75,52),(246.5,52.5),(247,54),(247,84),(251,84),(251,54),(250.25,51),(249.25,49.75),(248,48.75),(245,48),(231.5,48.25),(230,48.75),(227.75,51),(227,54),(227,83.75),(226.5,84.5),(225,85),(212.25,85),(211,83),(211,-63),(210.25,-66),(208,-68.25),(205,-69),(191.5,-68.75),(190,-68.25),(187.75,-66),(187,-63),(187,83.75),(185,85),(172.25,85),(171,83),(171,-63),(170.25,-66),(168,-68.25),(166.5,-68.75),(153,-69),(150,-68.25),(147.75,-66),(147.25,-64.5),(147,83.75),(145,85),(132.25,85),(131,83),(131,-63),(130.25,-66),(128,-68.25),(126.5,-68.75),(113,-69),(110,-68.25),(108.75,-67.25)])
R(single_bolometer, MS, [(-383.5,5.5,-378.5,18.5)])
P(single_bolometer, MS, [(247,76),(251,76),(251,84.75),(253,86),(817,85.3),(817,90.701),(253,90),(250,89.25),(247.75,87),(247,84)],
  [(233,8),(243,8),(243,11),(759,11),(759,67),(817,67),(817,69),(757,69),(757,13),(233,13)],
  [(233,-11),(250,-11),(250,7),(763,7),(763,63),(817,63),(817,65),(761,65),(761,9),(248,9),(248,-9),(243,-9),(243,-6),(233,-6)],
  [(-750.2,-130),(817,-130),(817,-128),(-748.2,-128),(-748.2,11),(-390.2,11),(-390.2,22.5),(-388.7,22.5),(-388.7,73.5),(-393.7,73.5),(-393.7,22.5),(-392.2,22.5),(-392.2,13),(-750.2,13)],
  [(-746,-126),(817,-126),(817,-124),(-744,-124),(-744,7),(-392,7),(-392,-2.5),(-393.5,-2.5),(-393.5,-53.5),(-388.5,-53.5),(-388.5,-2.5),(-390,-2.5),(-390,9),(-746,9)])

lib.write_gds('single_bolometer.gds')
